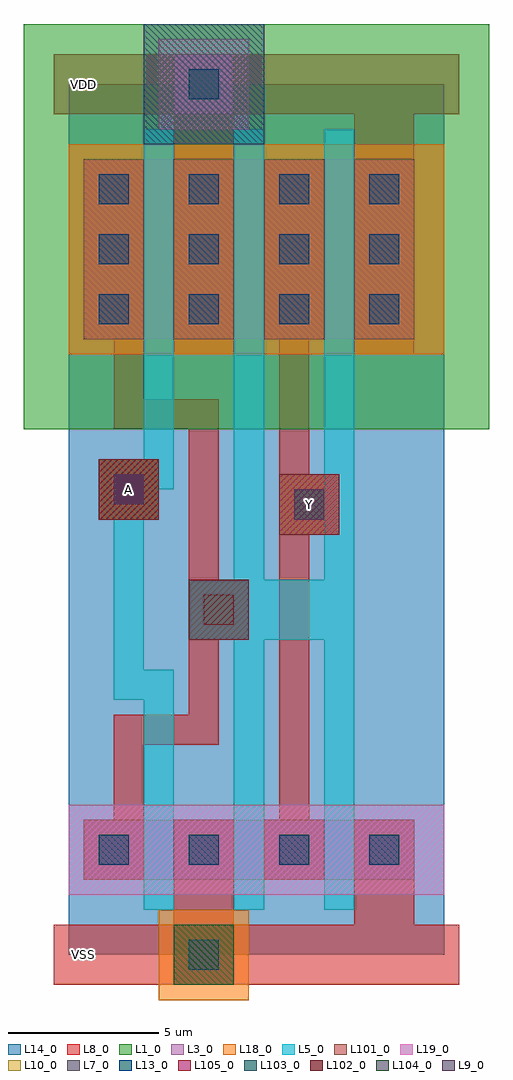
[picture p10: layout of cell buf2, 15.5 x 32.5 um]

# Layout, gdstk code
import gdstk
lib = gdstk.Library(unit=1e-6, precision=1e-09)
def R(c, l, rs):  # rectangles x0, y0, x1, y1
    for r in rs: c.add(gdstk.rectangle(r[:2], r[2:], *l))
L1_0 = (1, 0)
L3_0 = (3, 0)
L5_0 = (5, 0)
L7_0 = (7, 0)
L8_0 = (8, 0)
L9_0 = (9, 0)
L10_0 = (10, 0)
L13_0 = (13, 0)
L14_0 = (14, 0)
L18_0 = (18, 0)
L19_0 = (19, 0)
L101_0 = (101, 0)
L102_0 = (102, 0)
L103_0 = (103, 0)
L104_0 = (104, 0)
L105_0 = (105, 0)

pcont = lib.new_cell('pcont')
R(pcont, L5_0, [(-1,-1,1,1)])
R(pcont, L7_0, [(-0.5,-0.5,0.5,0.5)])
R(pcont, L8_0, [(-1,-1,1,1)])
R(pcont, L102_0, [(-1,-1,1,1)])
pcont.add(gdstk.Label('pcont', (0,0), layer=13, texttype=0))

via = lib.new_cell('Via')
R(via, L8_0, [(-1,-1,1,1)])
R(via, L9_0, [(-0.5,-0.5,0.5,0.5)])
R(via, L10_0, [(-1,-1,1,1)])
R(via, L13_0, [(-0.5,-0.5,0.5,0.5)])
R(via, L105_0, [(-1,-1,1,1)])
via.add(gdstk.Label('via', (0,0), layer=13, texttype=0))

dcont = lib.new_cell('dcont')
R(dcont, L3_0, [(-1,-1,1,1)])
R(dcont, L7_0, [(-0.5,-0.5,0.5,0.5)])
R(dcont, L8_0, [(-1,-1,1,1)])
R(dcont, L13_0, [(-0.5,-0.5,0.5,0.5)])
R(dcont, L101_0, [(-1,-1,1,1)])
dcont.add(gdstk.Label('dcont', (0,0), layer=13, texttype=0))

psubcont = lib.new_cell('psubcont')
R(psubcont, L18_0, [(-1.5,-1.5,1.5,1.5)])
R(psubcont, L104_0, [(-1,-1,1,1)])
psubcont.add(gdstk.Reference(dcont, (0,0)))
psubcont.add(gdstk.Label('PScon', (0,0), layer=13, texttype=0))

nsubcont = lib.new_cell('nsubcont')
R(nsubcont, L1_0, [(-2,-2,2,2)])
R(nsubcont, L19_0, [(-1.5,-1.5,1.5,1.5)])
R(nsubcont, L103_0, [(-2,-2,2,2)])
nsubcont.add(gdstk.Reference(dcont, (0,0)))
nsubcont.add(gdstk.Label('NScont', (0,0), layer=13, texttype=0))

buf2 = lib.new_cell('buf2')
R(buf2, L1_0, [(-1.5,17.5,14,31)])
R(buf2, L3_0, [(0.5,2.5,11.5,4.5), (0.5,20.5,11.5,26.5)])
R(buf2, L8_0, [(-0.5,-1,13,1), (-0.5,-1,13,1), (7,14,9,16), (7,14,9,16), (1,14.5,3,16.5), (1,14.5,3,16.5), (-0.5,28,13,30), (-0.5,28,13,30)])
R(buf2, L10_0, [(7,14,9,16), (7,14,9,16), (1,14.5,3,16.5), (1,14.5,3,16.5)])
R(buf2, L14_0, [(0,0,12.5,29)])
R(buf2, L18_0, [(0,20,12.5,27)])
R(buf2, L19_0, [(0,2,12.5,5)])
R(buf2, L105_0, [(7,14,9,16), (1,14.5,3,16.5)])
buf2.add(gdstk.FlexPath([(6,2),(6,11),(9,11)], 1, ends="extended", simple_path=True, layer=5, datatype=0))  # L5_0
buf2.add(gdstk.FlexPath([(6,27),(6,12),(9,12)], 1, ends="extended", simple_path=True, layer=5, datatype=0))  # L5_0
buf2.add(gdstk.FlexPath([(9,27),(9,2)], 1, ends="extended", simple_path=True, layer=5, datatype=0))  # L5_0
buf2.add(gdstk.FlexPath([(3,2),(3,9),(2,9),(2,16),(3,16),(3,27)], 1, ends="extended", simple_path=True, layer=5, datatype=0))  # L5_0
buf2.add(gdstk.FlexPath([(1.5,22.3),(1.5,25.5)], 1.4, ends="extended", simple_path=True, layer=8, datatype=0))  # L8_0
buf2.add(gdstk.FlexPath([(2,20.5),(2,18),(4.5,18),(4.5,7.5),(2,7.5),(2,3.8)], 1, ends="extended", simple_path=True, layer=8, datatype=0))  # L8_0
buf2.add(gdstk.FlexPath([(4.5,21),(4.5,28.5)], 2, ends="extended", simple_path=True, layer=8, datatype=0))  # L8_0
buf2.add(gdstk.FlexPath([(4.5,1),(4.5,3.5)], 2, ends="extended", simple_path=True, layer=8, datatype=0))  # L8_0
buf2.add(gdstk.FlexPath([(7.5,22.3),(7.5,25.5)], 1.4, ends="extended", simple_path=True, layer=8, datatype=0))  # L8_0
buf2.add(gdstk.FlexPath([(7.5,3.9),(7.5,20.5)], 1, ends="extended", simple_path=True, layer=8, datatype=0))  # L8_0
buf2.add(gdstk.FlexPath([(10.5,1),(10.5,3.5)], 2, ends="extended", simple_path=True, layer=8, datatype=0))  # L8_0
buf2.add(gdstk.FlexPath([(10.5,21),(10.5,28.5)], 2, ends="extended", simple_path=True, layer=8, datatype=0))  # L8_0
buf2.add(gdstk.FlexPath([(10.5,22.3),(10.5,25.5)], 1.4, ends="extended", simple_path=True, layer=8, datatype=0))  # L8_0
buf2.add(gdstk.Reference(pcont, (2,15.5)))
buf2.add(gdstk.Reference(via, (8,15)))
buf2.add(gdstk.Reference(dcont, (4.5,21.5)))
buf2.add(gdstk.Reference(dcont, (1.5,25.5)))
buf2.add(gdstk.Reference(via, (2,15.5)))
buf2.add(gdstk.Reference(dcont, (7.5,25.5)))
buf2.add(gdstk.Reference(dcont, (4.5,25.5)))
buf2.add(gdstk.Reference(dcont, (10.5,25.5)))
buf2.add(gdstk.Reference(dcont, (10.5,3.5)))
buf2.add(gdstk.Reference(dcont, (1.5,21.5)))
buf2.add(gdstk.Reference(psubcont, (4.5,0)))
buf2.add(gdstk.Reference(nsubcont, (4.5,29)))
buf2.add(gdstk.Reference(dcont, (4.5,3.5)))
buf2.add(gdstk.Reference(dcont, (7.5,23.5)))
buf2.add(gdstk.Reference(dcont, (1.5,3.5)))
buf2.add(gdstk.Reference(pcont, (5,11.5)))
buf2.add(gdstk.Reference(dcont, (7.5,21.5)))
buf2.add(gdstk.Reference(dcont, (1.5,23.5)))
buf2.add(gdstk.Reference(dcont, (10.5,23.5)))
buf2.add(gdstk.Reference(dcont, (7.5,3.5)))
buf2.add(gdstk.Reference(dcont, (10.5,21.5)))
buf2.add(gdstk.Reference(dcont, (4.5,23.5)))
buf2.add(gdstk.Label('VDD', (0.5,29), layer=8, texttype=0))
buf2.add(gdstk.Label('VSS', (0.5,0), layer=8, texttype=0))
buf2.add(gdstk.Label('A', (2,15.5), layer=10, texttype=0))
buf2.add(gdstk.Label('Y', (8,15), layer=10, texttype=0))
buf2.add(gdstk.Label('via', (2,15.5), layer=13, texttype=0))
buf2.add(gdstk.Label('via', (8,15), layer=13, texttype=0))

lib.write_gds('buf2.gds')
